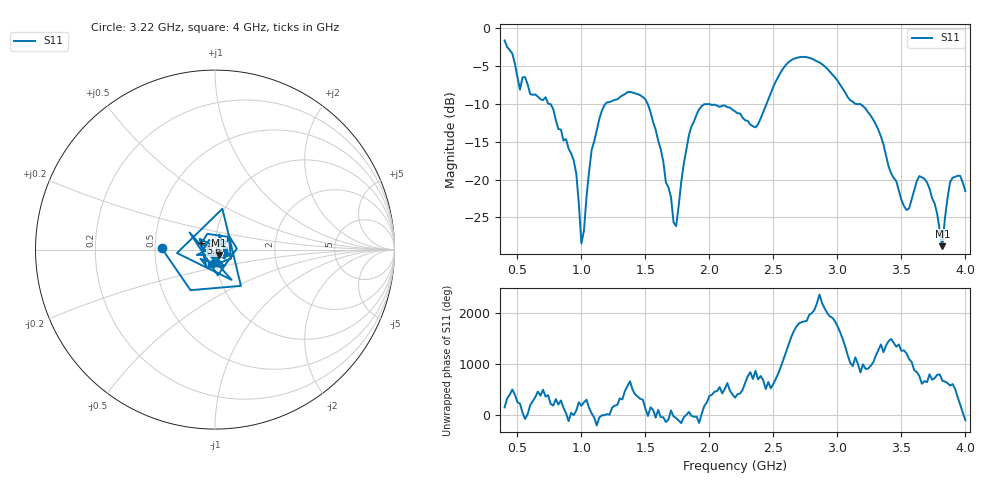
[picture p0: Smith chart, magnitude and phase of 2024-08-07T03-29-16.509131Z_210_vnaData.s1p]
!Created with skrf (http://scikit-rf.org).
# Hz S RI R 50.0
!freq ReS11 ImS11
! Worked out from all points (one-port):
!   181 points, 400 MHz to 4 GHz, reference 50 ohm
!   lowest |S11| = -28.8 dB at 3.82 GHz (marker M1), VSWR 1.08, Z = 52.1 - j3.06 ohm
!   |S11| at or under -10 dB: 743.1 MHz to 1.19 GHz (446.4 MHz wide, 46.2 % of centre); 1.517 GHz to 2.447 GHz (929.6 MHz wide, 46.9 % of centre); 3.139 GHz to end of sweep
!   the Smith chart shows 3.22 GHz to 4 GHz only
!   S11 on the Smith chart (normalised r, x): 3.22 GHz: 0.55, +0.01; 3.6 GHz: 0.86, +0.06; 4 GHz: 0.94, -0.15
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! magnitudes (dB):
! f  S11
! 400 MHz  -1.7
! 520 MHz  -8.1
! 560 MHz  -6.5
! 720 MHz  -9.1
! 860 MHz  -14.9
! 960 MHz  -19.2
! 1 GHz  -28.4
! 1.08 GHz  -16.1
! 1.14 GHz  -12.0
! 1.3 GHz  -9.1
! 1.5 GHz  -9.4
! 1.62 GHz  -16.0
! 1.72 GHz  -25.6
! 1.76 GHz  -23.5
! 1.84 GHz  -14.1
! 1.92 GHz  -10.7
! 2.2 GHz  -11.0
! 2.36 GHz  -13.1
! 2.66 GHz  -4.1
! 2.88 GHz  -4.8
! 3.1 GHz  -9.5
! 3.22 GHz  -10.6
! 3.56 GHz  -23.8
! 3.6 GHz  -21.5
! 3.7 GHz  -20.4
! 3.82 GHz  -28.8
! 3.88 GHz  -20.4
! 4 GHz  -21.5
